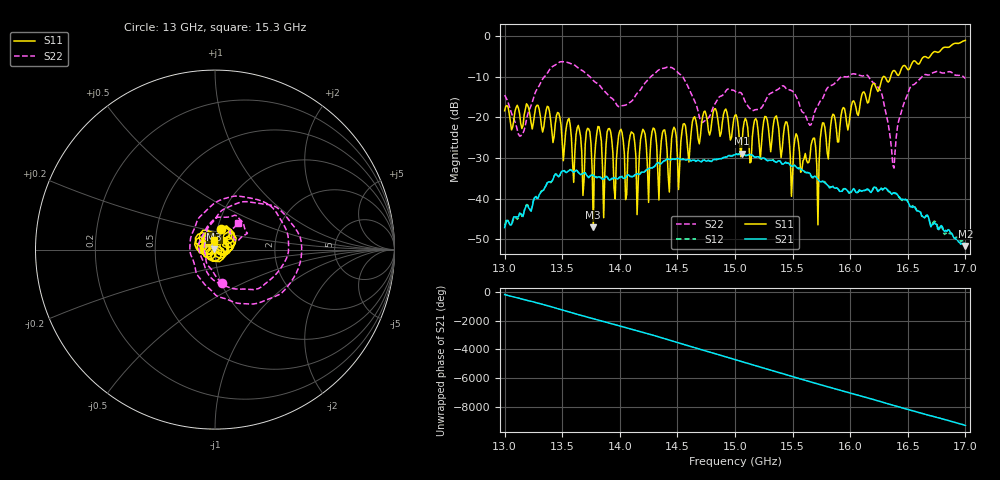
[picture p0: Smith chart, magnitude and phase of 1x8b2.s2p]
!Keysight Technologies,P9374A,MY57211807,A.19.30.04
!Date: Friday, May 08, 2026 14:23:38
!Correction: S11(C  2-Port  )
!S21(C  2-Port  )
!S12(C  2-Port  )
!S22(C  2-Port  )
!S2P File: Measurements: S11, S21, S12, S22:
# Hz S  dB  R 50
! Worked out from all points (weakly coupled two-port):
!   401 points, 13 GHz to 17 GHz, reference 50 ohm
!   highest |S21| = -28.93 dB at 15.06 GHz (marker M1); lowest = -51.6 dB at 17 GHz (marker M2)
!   lowest |S11| = -47.0 dB at 13.77 GHz (marker M3), VSWR 1.01, Z = 49.6 + j0.196 ohm
!   |S11| at or under -10 dB: start of sweep to 16.29 GHz; 16.29825 GHz to 16.35126 GHz (53.02 MHz wide, 0.325 % of centre)
!   |S22| runs from -32.5 to -6.3 dB; largest |S21 - S12| = 0.0014
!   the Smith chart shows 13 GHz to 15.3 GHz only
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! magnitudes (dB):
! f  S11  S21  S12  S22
! 13 GHz  -18.4  -47.1  -46.6  -14.5
! 13.14 GHz  -21.5  -43.6  -43.6  -24.5
! 13.4 GHz  -20.7  -35.8  -36.0  -7.9
! 13.67 GHz  -28.6  -34.0  -33.9  -8.4
! 13.73 GHz  -22.9  -34.8  -34.8  -9.8
! 13.77 GHz  -47.0  -34.2  -34.1  -10.9
! 13.82 GHz  -22.3  -34.6  -34.4  -12.0
! 13.86 GHz  -44.6  -35.2  -35.2  -13.4
! 13.91 GHz  -22.7  -35.4  -35.5  -14.9
! 13.96 GHz  -40.0  -34.9  -34.9  -16.3
! 14.01 GHz  -22.9  -34.6  -34.6  -17.2
! 14.05 GHz  -40.2  -34.8  -34.6  -17.0
! 14.1 GHz  -23.6  -34.6  -34.5  -16.1
! 14.34 GHz  -40.3  -31.2  -31.3  -8.3
! 14.72 GHz  -19.7  -30.5  -30.5  -21.2
! 15 GHz  -19.5  -29.2  -29.1  -13.6
! 15.06 GHz  -26.6  -28.9  -29.0  -14.2
! 15.67 GHz  -25.7  -34.6  -34.8  -21.0
! 16.14 GHz  -15.5  -37.7  -37.8  -9.6
! 16.34 GHz  -11.0  -38.2  -38.4  -23.4
! 16.63 GHz  -5.3  -44.4  -44.4  -9.8
! 17 GHz  -1.1  -51.6  -51.6  -10.5
